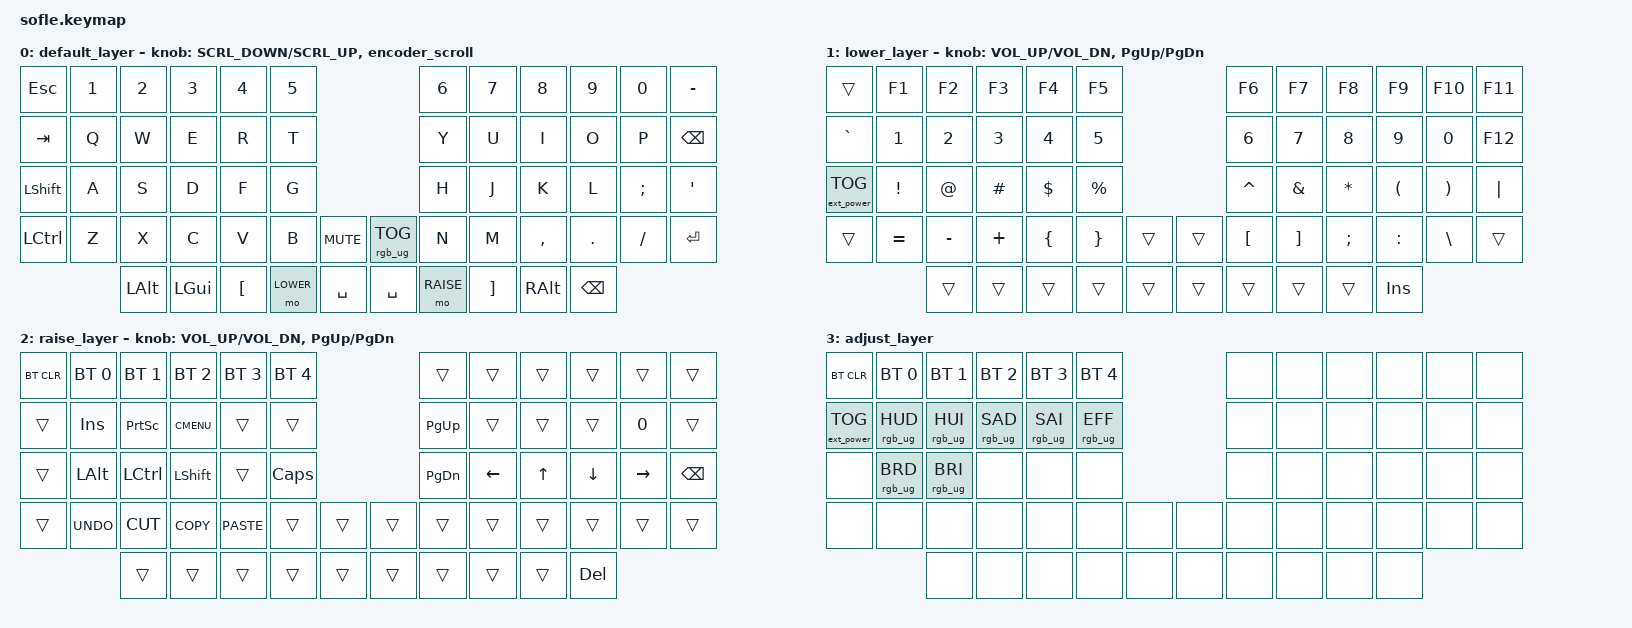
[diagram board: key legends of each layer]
/*
 * Copyright (c) 2020 The ZMK Contributors
 *
 * SPDX-License-Identifier: MIT
 */

#include <behaviors.dtsi>
#include <dt-bindings/zmk/bt.h>
#include <dt-bindings/zmk/ext_power.h>
#include <dt-bindings/zmk/keys.h>
#include <dt-bindings/zmk/pointing.h>
#include <dt-bindings/zmk/rgb.h>

#define BASE 0
#define LOWER 1
#define RAISE 2
#define ADJUST 3

/ {
    // Activate ADJUST layer by pressing raise and lower

    conditional_layers {
        compatible = "zmk,conditional-layers";

        adjust_layer {
            if-layers = <LOWER RAISE>;
            then-layer = <ADJUST>;
        };
    };

    behaviors {
        encoder_scroll: encoder_scroll {
            compatible = "zmk,behavior-sensor-rotate";
            label = "ENCODER_SCROLL";
            #sensor-binding-cells = <0>;
            bindings = <&msc SCRL_DOWN>, <&msc SCRL_UP>;
        };

        moose: moose {
            compatible = "zmk,behavior-sensor-rotate-var";
            label = "MOOSE";
            #sensor-binding-cells = <2>;
            bindings = <&msc>, <&msc>;
        };
    };

    combos {
        compatible = "zmk,combos";

        AltF4 {
            bindings = <&altf4macro>;
            key-positions = <4 50>;
        };
    };

    macros {
        altf4macro: altf4macro {
            compatible = "zmk,behavior-macro";
            #binding-cells = <0>;
            bindings = <&sk LEFT_ALT &kp F4>;
            label = "ALTF4MACRO";
        };
    };

    keymap {
        compatible = "zmk,keymap";

        default_layer {
            // ------------------------------------------------------------------------------------------------------------
            // |   `   |  1  |  2  |  3   |  4   |  5   |                   |  6   |  7    |  8    |  9   |   0   |       |
            // |  ESC  |  Q  |  W  |  E   |  R   |  T   |                   |  Y   |  U    |  I    |  O   |   P   | BKSPC |
            // |  TAB  |  A  |  S  |  D   |  F   |  G   |                   |  H   |  J    |  K    |  L   |   ;   |   '   |
            // | SHIFT |  Z  |  X  |  C   |  V   |  B   |  MUTE  |  |       |  N   |  M    |  ,    |  .   |   /   | SHIFT |
            //               | GUI | ALT  | CTRL | LOWER|  ENTER |  | SPACE | RAISE| CTRL  | ALT   | GUI  |

            bindings = <
&kp ESCAPE  &kp N1  &kp N2    &kp N3        &kp N4            &kp N5                                    &kp N6     &kp N7             &kp N8     &kp N9    &kp N0    &kp MINUS
&kp TAB     &kp Q   &kp W     &kp E         &kp R             &kp T                                     &kp Y      &kp U              &kp I      &kp O     &kp P     &kp BSPC
&kp LSHIFT  &kp A   &kp S     &kp D         &kp F             &kp G                                     &kp H      &kp J              &kp K      &kp L     &kp SEMI  &kp SQT
&kp LCTRL   &kp Z   &kp X     &kp C         &kp V             &kp B      &kp C_MUTE    &rgb_ug RGB_TOG  &kp N      &kp M              &kp COMMA  &kp DOT   &kp FSLH  &kp ENTER
                    &kp LALT  &kp LEFT_GUI  &kp LEFT_BRACKET  &mo LOWER  &kp SPACE     &kp SPACE        &mo RAISE  &kp RIGHT_BRACKET  &kp RALT   &kp BSPC
            >;

            sensor-bindings = <&moose SCRL_DOWN SCRL_UP>, <&encoder_scroll>;
        };

        lower_layer {
            // TODO: Some binds are waiting for shifted keycode support.
            // ------------------------------------------------------------------------------------------------------------
            // |       |  F1 |  F2 |  F3  |  F4  |  F5  |                   |  F6  |  F7   |  F8   |  F9  |  F10  |  F11  |
            // |   `   |  1  |  2  |  3   |  4   |  5   |                   |  6   |  7    |  8    |  9   |   0   |  F12  |
            // |       |  !  |  @  |  #   |  $   |  %   |                   |  ^   |  &    |  *    |  (   |   )   |   |   |
            // |       |  =  |  -  |  +   |  {   |  }   |        |  |       |  [   |  ]    |  ;    |  :   |   \   |       |
            //               |     |      |      |      |        |  |       |      |       |       |      |

            bindings = <
&trans             &kp F1     &kp F2     &kp F3    &kp F4    &kp F5                       &kp F6     &kp F7    &kp F8     &kp F9      &kp F10   &kp F11
&kp GRAVE          &kp N1     &kp N2     &kp N3    &kp N4    &kp N5                       &kp N6     &kp N7    &kp N8     &kp N9      &kp N0    &kp F12
&ext_power EP_TOG  &kp EXCL   &kp AT     &kp HASH  &kp DLLR  &kp PRCNT                    &kp CARET  &kp AMPS  &kp ASTRK  &kp LPAR    &kp RPAR  &kp PIPE
&trans             &kp EQUAL  &kp MINUS  &kp PLUS  &kp LBRC  &kp RBRC   &trans    &trans  &kp LBKT   &kp RBKT  &kp SEMI   &kp COLON   &kp BSLH  &trans
                              &trans     &trans    &trans    &trans     &trans    &trans  &trans     &trans    &trans     &kp INSERT
            >;

            sensor-bindings = <&inc_dec_kp C_VOL_UP C_VOL_DN &inc_dec_kp PG_UP PG_DN>;
        };

        raise_layer {
            // ------------------------------------------------------------------------------------------------------------
            // | BTCLR | BT1  | BT2  |  BT3  |  BT4  |  BT5 |                |      |      |       |      |       |       |
            // |       | INS  | PSCR | GUI   |       |      |                | PGUP |      |   ^   |      |       |       |
            // |       | ALT  | CTRL | SHIFT |       | CAPS |                | PGDN |   <- |   v   |  ->  |  DEL  | BKSPC |
            // |       | UNDO | CUT  | COPY  | PASTE |      |      |  |      |      |      |       |      |       |       |
            //                |      |       |       |      |      |  |      |      |      |       |      |

            bindings = <
&bt BT_CLR  &bt BT_SEL 0  &bt BT_SEL 1  &bt BT_SEL 2  &bt BT_SEL 3  &bt BT_SEL 4                    &trans     &trans    &trans  &trans      &trans     &trans
&trans      &kp INS       &kp PSCRN     &kp K_CMENU   &trans        &trans                          &kp PG_UP  &trans    &trans  &trans      &kp N0     &trans
&trans      &kp LALT      &kp LCTRL     &kp LSHFT     &trans        &kp CLCK                        &kp PG_DN  &kp LEFT  &kp UP  &kp DOWN    &kp RIGHT  &kp BSPC
&trans      &kp K_UNDO    &kp K_CUT     &kp K_COPY    &kp K_PASTE   &trans        &trans    &trans  &trans     &trans    &trans  &trans      &trans     &trans
                          &trans        &trans        &trans        &trans        &trans    &trans  &trans     &trans    &trans  &kp DELETE
            >;

            sensor-bindings = <&inc_dec_kp C_VOL_UP C_VOL_DN &inc_dec_kp PG_UP PG_DN>;
        };

        adjust_layer {
            // ----------------------------------------------------------------------------------------------------------------------------
            // | BTCLR  |  BT1    |  BT2    |   BT3   |   BT4   |   BT5   |                  |      |      |       |      |       |       |
            // | EXTPWR | RGB_HUD | RGB_HUI | RGB_SAD | RGB_SAI | RGB_EFF |                  |      |      |       |      |       |       |
            // |        | RGB_BRD | RGB_BRI |         |         |         |                  |      |      |       |      |       |       |
            // |        |         |         |         |         |         | RGB_TOG | |      |      |      |       |      |       |       |
            //                    |         |         |         |         |         | |      |      |      |       |      |

            bindings = <
&bt BT_CLR         &bt BT_SEL 0     &bt BT_SEL 1     &bt BT_SEL 2     &bt BT_SEL 3     &bt BT_SEL 4                     &none  &none  &none  &none  &none  &none
&ext_power EP_TOG  &rgb_ug RGB_HUD  &rgb_ug RGB_HUI  &rgb_ug RGB_SAD  &rgb_ug RGB_SAI  &rgb_ug RGB_EFF                  &none  &none  &none  &none  &none  &none
&none              &rgb_ug RGB_BRD  &rgb_ug RGB_BRI  &none            &none            &none                            &none  &none  &none  &none  &none  &none
&none              &none            &none            &none            &none            &none            &none    &none  &none  &none  &none  &none  &none  &none
                                    &none            &none            &none            &none            &none    &none  &none  &none  &none  &none
            >;
        };

        extra1 { status = "reserved"; };

        extra2 { status = "reserved"; };

        extra3 { status = "reserved"; };

        extra4 { status = "reserved"; };
    };
};
